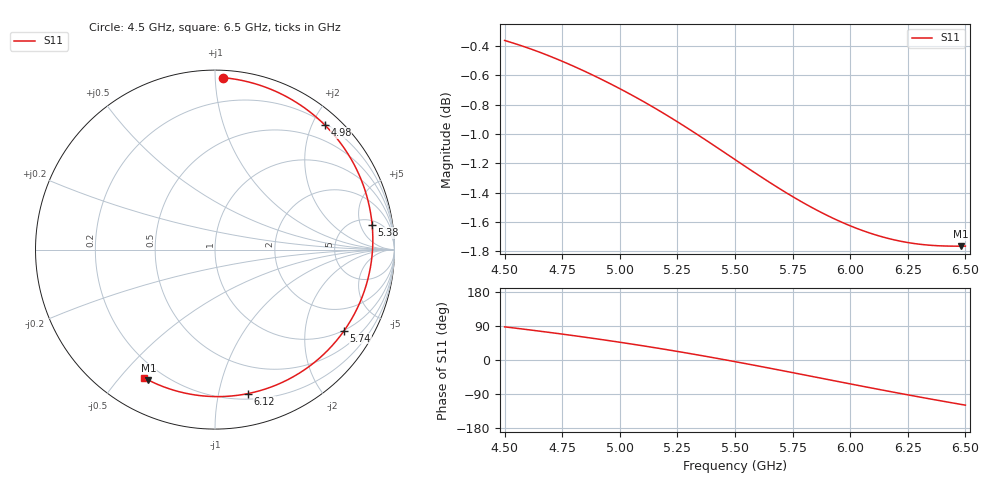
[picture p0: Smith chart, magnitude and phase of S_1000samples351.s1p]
! TOUCHSTONE file generated by CST MICROWAVE STUDIO
! Date and time: Thu Oct 27 21:05:50 2022
! Project name: L.cst
! Parameters = {Di=1.27; Epsilon_r=1.56; InnerDiameter=1.27; Length=2; Lf=10; Lg=60; OuterConductorThickness=0.2921; OuterDiameter=3.6; Wf=3; Wp=41.2; de=1.5; df=6.8; g=0.8; gx=2.92957; gy=2.47562; h=2.34; hf=1.524; px=8.49929; py=10.0139; w=9.7; wx=5.56971; wy=7.53832}
! Header version: 2018
! Port assignment regex: !\s*Touchstone port\s*([0-9]+)\s*=\s*(CST MWS port|CST DS port)\s*([0-9]+|Zmin|Zmax)\s*\(\"(.*)\"\)(\s*mode\s*([0-9]+))?.*
! Touchstone port assignment:
! Touchstone port 1 = CST MWS port 1 ("")
# GHz S DB R 50
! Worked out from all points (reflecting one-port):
!   101 points, 4.5 GHz to 6.5 GHz, reference 50 ohm
!   lowest |S11| = -1.8 dB at 6.48 GHz (marker M1), VSWR 9.88, Z = 6.93 - j30.2 ohm
!   phase of S11 starts at 87 deg and turns -207 deg over the sweep
!   S11 on the Smith chart (normalised r, x): 4.5 GHz: 0.04, +1.04; 4.98 GHz: 0.23, +2.19; 5.38 GHz: 6, +8; 5.74 GHz: 0.98, -3.19; 6.12 GHz: 0.25, -1.23; 6.5 GHz: 0.14, -0.58
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4.5  -0.36 87.5
4.64  -0.44 77.0
4.76  -0.51 67.5
4.88  -0.60 57.5
4.98  -0.67 48.7
5  -0.69 46.8
5.06  -0.74 41.3
5.14  -0.81 33.6
5.26  -0.93 21.6
5.32  -0.99 15.3
5.38  -1.05 8.9
5.44  -1.11 2.3
5.5  -1.17 -4.3
5.56  -1.24 -11.2
5.62  -1.30 -18.1
5.68  -1.36 -25.1
5.74  -1.42 -32.1
5.76  -1.44 -34.5
5.88  -1.54 -48.8
5.94  -1.58 -55.9
6  -1.63 -63.0
6.06  -1.66 -70.1
6.12  -1.69 -77.1
6.18  -1.72 -84.0
6.26  -1.74 -93.1
6.36  -1.76 -104.1
6.48  -1.76 -117.1
6.5  -1.76 -119.2
